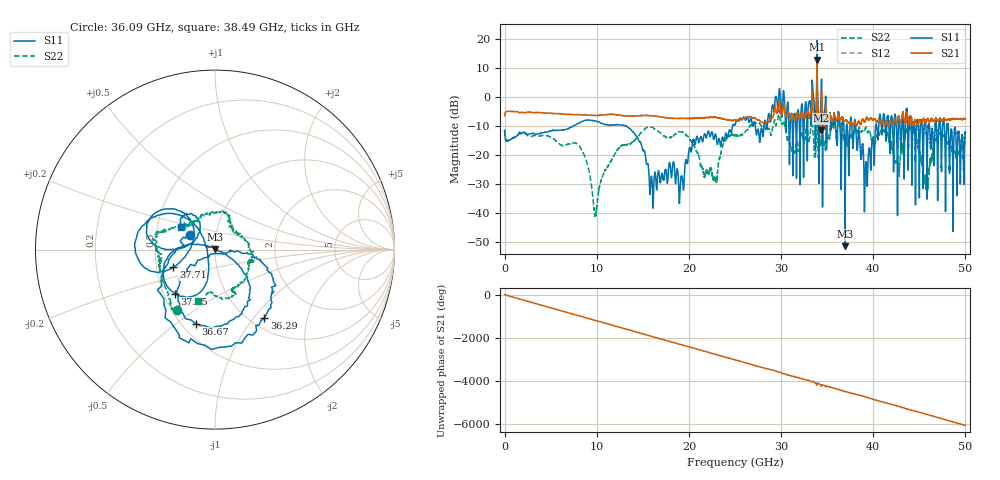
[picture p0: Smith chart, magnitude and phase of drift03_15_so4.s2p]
!Created with skrf (http://scikit-rf.org).
# Hz S RI R 50.0
!freq ReS11 ImS11 ReS21 ImS21 ReS12 ImS12 ReS22 ImS22
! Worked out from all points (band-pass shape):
!   10001 points, 300 kHz to 50 GHz, reference 50 ohm
!   highest |S21| = 12.71 dB at 33.9 GHz (marker M1); lowest = -11.5 dB at 34.32 GHz (marker M2)
!   |S21| within 3 dB of the highest: 33.88965 GHz to 33.90577 GHz (16.12 MHz wide, 0.0476 % of centre)
!   lowest |S11| = -51.5 dB at 36.96 GHz (marker M3), VSWR 1.01, Z = 50.1 + j0.25 ohm
!   |S11| at or under -10 dB: start of sweep to 7.486 GHz; 13.13 GHz to 24.74 GHz (11.61 GHz wide, 61.3 % of centre); 38.09 GHz to 40.26 GHz (2.173 GHz wide, 5.55 % of centre) (the widest 3 of 49)
!   |S22| runs from -41.3 to 5.1 dB; largest |S21 - S12| = 0.32
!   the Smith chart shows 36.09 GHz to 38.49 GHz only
!   S11 on the Smith chart (normalised r, x): 36.09 GHz: 0.75, +0.12; 36.29 GHz: 1.17, -1.13; 36.67 GHz: 0.58, -0.59; 37.15 GHz: 0.57, -0.32; 37.71 GHz: 0.61, -0.13; 38.49 GHz: 0.67, +0.17
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300000  -0.2383 -0.1142  0.4669 0.0765  0.4665 0.0777  -0.2341 -0.1245
1.440291e9  0.2101 0.0647  -0.5477 -0.0294  -0.5479 -0.0289  0.2109 -0.00451
2.915283e9  -0.2119 -0.0879  0.5336 0.0512  0.5345 0.0511  -0.2024 0.0401
8.33525e9  0.2885 -0.2339  0.147 0.4658  0.1466 0.4658  -0.0732 -0.1009
9.850241e9  -0.3619 0.1321  -0.1531 -0.4502  -0.1535 -0.4503  0.00849 0.00251
1.66702e10  0.0276 0.0444  -0.3778 0.2541  -0.378 0.2542  -0.1266 -0.2181
2.500015e10  -0.3256 -0.014  -0.2556 -0.2957  -0.2545 -0.2974  -0.2144 0.0286
2.895513e10  -0.3238 0.4333  -0.2876 0.3283  -0.297 0.2919  0.0646 0.2208
3.006512e10  0.3963 0.2654  0.4482 -0.1974  0.4513 -0.1844  0.1718 -0.2983
3.171011e10  -0.0891 0.1853  -0.3608 0.3578  -0.3579 0.3545  0.0649 0.1578
3.33351e10  0.5961 -0.811  0.2412 -0.8326  0.2448 -0.8133  -0.1914 -0.4175
3.38951e10  -2.407 -8.968  -4.251 0.7758  -3.983 0.9513  0.4881 1.735
3.432009e10  -0.78 0.00172  -0.1791 0.1962  -0.2399 0.1768  0.1426 -0.0697
3.608508e10  -0.1396 0.0792  0.2571 -0.3248  0.265 -0.3187  -0.2127 -0.3346
3.628508e10  0.2751 -0.3796  0.149 -0.4067  0.154 -0.3979  -0.2994 -0.1397
3.667008e10  -0.1086 -0.4127  -0.236 -0.3614  -0.2433 -0.3695  -0.2427 0.1235
3.696008e10  0.000967 0.00249  -0.3721 -0.1126  -0.3691 -0.1123  -0.0052 0.2033
3.715008e10  -0.2219 -0.246  -0.3872 -0.00508  -0.3819 -0.00602  0.0915 0.1252
3.770507e10  -0.2322 -0.0985  -0.1557 0.3094  -0.1517 0.2987  0.1829 -0.1223
3.849007e10  -0.1874 0.124  0.2949 0.2015  0.3097 0.2104  -0.0921 -0.2848
4.167005e10  -0.192 0.3017  0.3117 0.00474  0.3128 0.0121  -0.1952 -0.00919
5e10  -0.1259 -0.2083  0.1478 0.3852  0.1482 0.3822  -0.0557 -0.145
